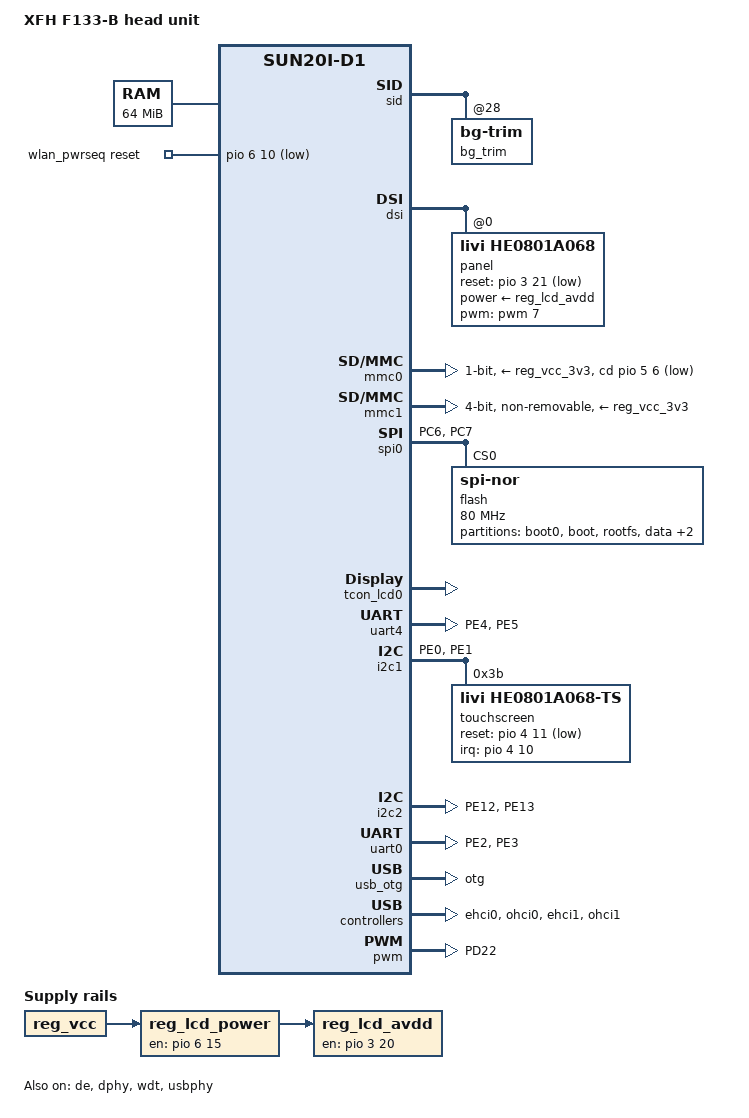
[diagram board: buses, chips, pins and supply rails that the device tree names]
// SPDX-License-Identifier: (GPL-2.0+ OR MIT)

#include <dt-bindings/gpio/gpio.h>

/dts-v1/;

#include "sun20i-d1s.dtsi"
#include "sun20i-common-regulators.dtsi"

/ {
	model = "XFH F133-B head unit";
	compatible = "livi,f133b-xfh", "allwinner,sun20i-d1s", "allwinner,sun20i-d1";

	aliases {
		serial0 = &uart0;
	};

	chosen {
		bootargs = "console=ttyS0,115200 quiet";
		stdout-path = "serial0:115200n8";
	};

	memory@40000000 {
		device_type = "memory";
		reg = <0x40000000 0x4000000>;
	};

	reg_lcd_power: lcd-power {
		compatible = "regulator-fixed";
		regulator-name = "lcd-power";
		gpio = <&pio 6 15 GPIO_ACTIVE_HIGH>; /* PG15 */
		enable-active-high;
		vin-supply = <&reg_vcc>;
	};

	reg_lcd_avdd: lcd-avdd {
		compatible = "regulator-fixed";
		regulator-name = "lcd-avdd";
		gpio = <&pio 3 20 GPIO_ACTIVE_HIGH>; /* PD20 */
		enable-active-high;
		startup-delay-us = <30000>;
		vin-supply = <&reg_lcd_power>;
	};

	/* AIC8800 reset. Found by pulsing free pins. Melis never drives it, a pull-up holds it high. */
	wlan_pwrseq: wlan-pwrseq {
		compatible = "mmc-pwrseq-simple";
		reset-gpios = <&pio 6 10 GPIO_ACTIVE_LOW>; /* PG10 */
		post-power-on-delay-ms = <100>;
	};
};

/* The D1 dtsi does not describe the video engine and its SRAM C1 yet. */
&syscon {
	sram@1d00000 {
		compatible = "mmio-sram";
		reg = <0x1d00000 0x40000>;
		#address-cells = <1>;
		#size-cells = <1>;
		ranges = <0 0x1d00000 0x40000>;

		ve_sram: sram-section@0 {
			compatible = "allwinner,sun20i-d1-sram-c1", "allwinner,sun4i-a10-sram-c1";
			reg = <0 0x40000>;
		};
	};
};

&{/soc} {
	video-codec@1c0e000 {
		compatible = "allwinner,sun20i-d1-video-engine";
		reg = <0x1c0e000 0x2000>;
		interrupts = <SOC_PERIPHERAL_IRQ(66) IRQ_TYPE_LEVEL_HIGH>;
		clocks = <&ccu CLK_BUS_VE>, <&ccu CLK_VE>, <&ccu CLK_MBUS_VE>;
		clock-names = "ahb", "mod", "ram";
		resets = <&ccu RST_BUS_VE>;
		allwinner,sram = <&ve_sram 1>;
		interconnects = <&mbus 4>;
		interconnect-names = "dma-mem";
	};

	/*
	 * Internal codec, as smaeul's d1/all sun20i-d1.dtsi, IRQ and DRQ as Allwinner's sun8iw20 BSP.
	 * HPOUT goes to the AB5301B AUX in. Of the inputs the LQFP128 F133 brings out MICIN3, which
	 * mic bias it is wired to is unknown, both are routed.
	 */
	codec: audio-codec@2030000 {
		compatible = "allwinner,sun20i-d1-codec", "simple-mfd", "syscon";
		reg = <0x2030000 0x1000>;
		interrupts = <SOC_PERIPHERAL_IRQ(25) IRQ_TYPE_LEVEL_HIGH>;
		clocks = <&ccu CLK_BUS_AUDIO>, <&ccu CLK_AUDIO_ADC>, <&ccu CLK_AUDIO_DAC>;
		clock-names = "bus", "adc", "dac";
		resets = <&ccu RST_BUS_AUDIO>;
		dmas = <&dma 7>, <&dma 7>;
		dma-names = "rx", "tx";
		#address-cells = <1>;
		#size-cells = <1>;
		#sound-dai-cells = <0>;
		avcc-supply = <&reg_aldo>;
		hpvcc-supply = <&reg_hpldo>;
		vdd33-supply = <&reg_vcc_3v3>;
		routing = "AUX Out", "HPOUTL",
			  "AUX Out", "HPOUTR",
			  "MICIN3", "Mic",
			  "Mic", "MBIAS";
		widgets = "Line", "AUX Out",
			  "Microphone", "Mic";

		regulators@2030348 {
			compatible = "allwinner,sun20i-d1-analog-ldos";
			reg = <0x2030348 0x4>;
			nvmem-cells = <&bg_trim>;
			nvmem-cell-names = "bg_trim";

			/* AVCC feeds more of the SoC's analog side than the codec, switched off the
			 * board dies. The BSP keeps it on too. */
			reg_aldo: aldo {
				regulator-min-microvolt = <1800000>;
				regulator-max-microvolt = <1800000>;
				regulator-always-on;
				vdd33-supply = <&reg_vcc_3v3>;
			};

			reg_hpldo: hpldo {
				regulator-min-microvolt = <1800000>;
				regulator-max-microvolt = <1800000>;
				hpldoin-supply = <&reg_vcc_3v3>;
			};
		};
	};

	g2d@5410000 {
		compatible = "allwinner,sunxi-g2d";
		reg = <0x5410000 0x40000>;
		interrupts = <SOC_PERIPHERAL_IRQ(89) IRQ_TYPE_LEVEL_HIGH>;
		clocks = <&ccu CLK_BUS_G2D>, <&ccu CLK_G2D>, <&ccu CLK_MBUS_G2D>;
		clock-names = "bus", "g2d", "mbus_g2d";
		resets = <&ccu RST_BUS_G2D>;
		assigned-clocks = <&ccu CLK_G2D>;
		assigned-clock-rates = <300000000>;
	};
};

&sid {
	bg_trim: bg-trim@28 {
		reg = <0x28 0x4>;
		bits = <16 8>;
	};
};

/*
 * No driver binds the D1 mbus, so fw_devlink would hold the video engine back forever. Disabled, it is
 * no supplier, while its dma-ranges still give the video engine its DRAM offset.
 */
&mbus {
	status = "disabled";
};

&de {
	status = "okay";
};

&dphy {
	status = "okay";
};

&dsi {
	pinctrl-0 = <&dsi_4lane_pins>;
	pinctrl-names = "default";
	vcc-dsi-supply = <&reg_vcc_3v3>;
	#address-cells = <1>;
	#size-cells = <0>;
	status = "okay";

	panel@0 {
		compatible = "livi,he0801a068";
		reg = <0>;
		power-supply = <&reg_lcd_avdd>;
		reset-gpios = <&pio 3 21 GPIO_ACTIVE_LOW>; /* PD21 */
		/* PD22 is pwm7. 20 kHz, the LED driver dims it without an audible whine. */
		pwms = <&pwm 7 50000 0>;
	};
};

&mmc0 {
	pinctrl-0 = <&mmc0_pins>;
	pinctrl-names = "default";
	vmmc-supply = <&reg_vcc_3v3>;
	/* The vendor sys_config runs the slot 1-bit, 4-bit transfers fail with data errors. */
	bus-width = <1>;
	cd-gpios = <&pio 5 6 (GPIO_ACTIVE_LOW | GPIO_PULL_UP)>; /* PF6 */
	cap-sd-highspeed;
	no-mmc;
	no-sdio;
	status = "okay";
};

&mmc1 {
	pinctrl-0 = <&mmc1_pins>;
	pinctrl-names = "default";
	vmmc-supply = <&reg_vcc_3v3>;
	bus-width = <4>;
	max-frequency = <50000000>;
	non-removable;
	cap-sd-highspeed;
	cap-sdio-irq;
	keep-power-in-suspend;
	no-mmc;
	no-sd;
	mmc-pwrseq = <&wlan_pwrseq>;
	status = "okay";
};

&spi0 {
	pinctrl-0 = <&spi0_pins>, <&spi0_wp_hold_pins>;
	pinctrl-names = "default";
	status = "okay";

	flash@0 {
		compatible = "jedec,spi-nor";
		reg = <0>;
		/* The EN25QH128A runs four data bits at up to 80 MHz. */
		spi-max-frequency = <80000000>;
		spi-rx-bus-width = <4>;
		spi-tx-bus-width = <4>;

		/* boot0 (sun20i_d1_spl) reads the sunxi-package at 0x10000. */
		partitions {
			compatible = "fixed-partitions";
			#address-cells = <1>;
			#size-cells = <1>;

			partition@0 {
				label = "boot0";
				reg = <0x000000 0x010000>;
			};

			partition@10000 {
				label = "boot";
				reg = <0x010000 0x410000>;
			};

			partition@420000 {
				label = "rootfs";
				reg = <0x420000 0xb40000>;
			};

			partition@f60000 {
				label = "data";
				reg = <0xf60000 0x080000>;
			};

			partition@fe0000 {
				label = "customer";
				reg = <0xfe0000 0x010000>;
			};

			partition@ff0000 {
				label = "bootstate";
				reg = <0xff0000 0x010000>;
			};
		};
	};
};

/* boot0 starts it, the kernel keeps it fed until userspace takes over. */
&wdt {
	status = "okay";
};

&tcon_lcd0 {
	status = "okay";
};

&cpu0 {
	cpu-supply = <&reg_vcc>;
};

&dcxo {
	clock-frequency = <24000000>;
};

/* As Allwinner's D1 boards: DAT1 carries the AIC8800's SDIO interrupt. */
&mmc1_pins {
	drive-strength = <30>;
	bias-pull-up;
};

&pio {
	/* WP#/HOLD# stay high outside quad transfers. */
	spi0_wp_hold_pins: spi0-wp-hold-pins {
		pins = "PC6", "PC7";
		function = "spi0";
		bias-pull-up;
	};

	pwm7_pd22_pin: pwm7-pd22-pin {
		pins = "PD22";
		function = "pwm7";
	};

	uart0_pe2_pins: uart0-pe2-pins {
		pins = "PE2", "PE3";
		function = "uart0";
	};

	uart4_pe4_pins: uart4-pe4-pins {
		pins = "PE4", "PE5";
		function = "uart4";
	};

	i2c1_pe0_pins: i2c1-pe0-pins {
		pins = "PE0", "PE1";
		function = "i2c1";
	};

	i2c2_pe12_pins: i2c2-pe12-pins {
		pins = "PE12", "PE13";
		function = "i2c2";
	};
};

&uart4 {
	pinctrl-0 = <&uart4_pe4_pins>;
	pinctrl-names = "default";
	status = "okay";
};

&i2c1 {
	pinctrl-0 = <&i2c1_pe0_pins>;
	pinctrl-names = "default";
	status = "okay";

	touchscreen@3b {
		compatible = "livi,he0801a068-ts";
		reg = <0x3b>;
		interrupts-extended = <&pio 4 10 IRQ_TYPE_EDGE_FALLING>; /* PE10 */
		reset-gpios = <&pio 4 11 GPIO_ACTIVE_LOW>; /* PE11 */
	};
};

&i2c2 {
	pinctrl-0 = <&i2c2_pe12_pins>;
	pinctrl-names = "default";
	status = "okay";
};

&uart0 {
	pinctrl-0 = <&uart0_pe2_pins>;
	pinctrl-names = "default";
	status = "okay";
};

/*
 * The USB-A port. EHCI0 sets it to host when it probes, the initramfs switches it to peripheral for
 * NCM and board_start back to host for wired phones.
 */
&usb_otg {
	dr_mode = "otg";
	status = "okay";
};

&usbphy {
	status = "okay";
};

/* In host mode the PHY routes the USB-A port to EHCI0/OHCI0, not to musb. */
&ehci0 {
	status = "okay";
};

&ohci0 {
	status = "okay";
};

&ehci1 {
	status = "okay";
};

&ohci1 {
	status = "okay";
};

&pwm {
	pinctrl-0 = <&pwm7_pd22_pin>;
	pinctrl-names = "default";
	status = "okay";
};
